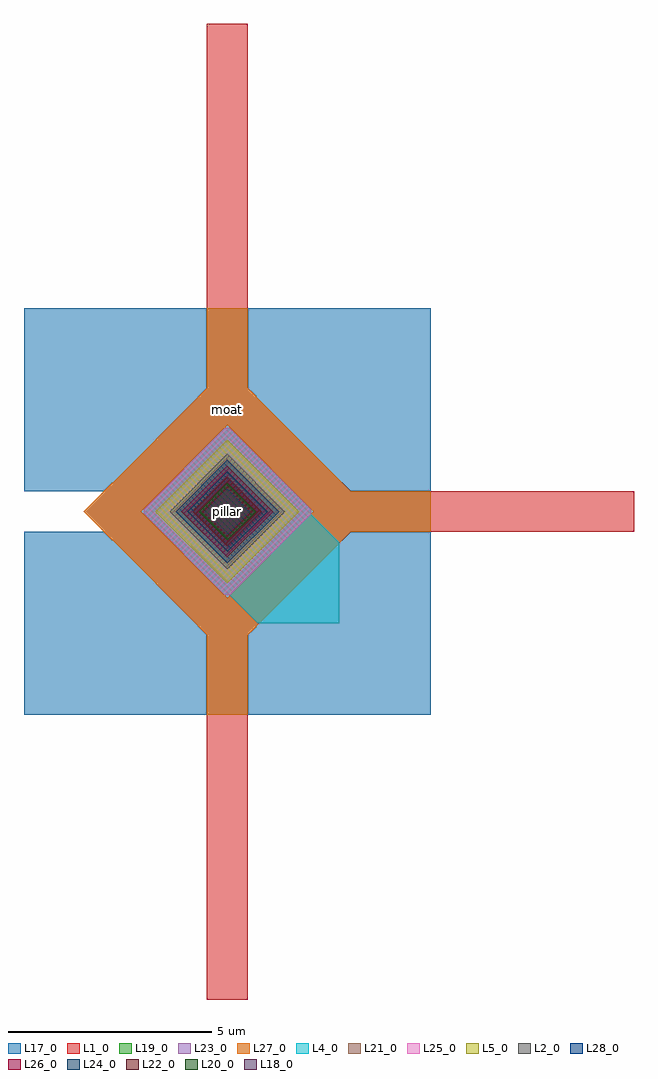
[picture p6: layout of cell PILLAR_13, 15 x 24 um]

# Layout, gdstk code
import gdstk
lib = gdstk.Library(unit=1e-6, precision=1e-09)
def P(c, l, *ps):  # polygons
    for p in ps: c.add(gdstk.Polygon(p, *l))
L1_0 = (1, 0)
L2_0 = (2, 0)
L4_0 = (4, 0)
L5_0 = (5, 0)
L17_0 = (17, 0)
L18_0 = (18, 0)
L19_0 = (19, 0)
L20_0 = (20, 0)
L21_0 = (21, 0)
L22_0 = (22, 0)
L23_0 = (23, 0)
L24_0 = (24, 0)
L25_0 = (25, 0)
L26_0 = (26, 0)
L27_0 = (27, 0)
L28_0 = (28, 0)

pillar_13 = lib.new_cell('PILLAR_13')
P(pillar_13, L2_0, [(-1.414,0),(0,-1.414),(1.414,0),(0,1.414)])
P(pillar_13, L4_0, [(0.75,-2.75),(2.75,-2.75),(2.75,-0.75),(1,1),(-1,-1)],
  [(-0.061,-2.061),(0.061,-2.061),(2.061,-0.061),(2.061,0.061),(0.061,2.061),(-0.061,2.061),(-2.061,0.061),(-2.061,-0.061)])
P(pillar_13, L5_0, [(-1.768,0),(0,-1.768),(1.768,0),(0,1.768)])
P(pillar_13, L17_0, [(5,-0.5),(3.035,-0.5),(2.828,-0.707),(2.121,0),(2.828,0.707),(3.036,0.5),(5,0.5),(5,5),(0.5,5),(0.5,3.035),(0.707,2.828),(0,2.121),(-0.707,2.828),(-0.5,3.036),(-0.5,5),(-5,5),(-5,0.5),(-3.035,0.5),(-2.828,0.707),(-2.121,0),(-2.828,-0.707),(-3.036,-0.5),(-5,-0.5),(-5,-5),(-0.5,-5),(-0.5,-3.035),(-0.707,-2.828),(0,-2.121),(0.707,-2.828),(0.5,-3.036),(0.5,-5),(5,-5)])
P(pillar_13, L18_0, [(-0.566,0),(0,-0.566),(0.566,0),(0,0.566)])
P(pillar_13, L20_0, [(-0.707,0),(0,-0.707),(0.707,0),(0,0.707)])
P(pillar_13, L21_0, [(-0.061,-2.061),(0.061,-2.061),(2.061,-0.061),(2.061,0.061),(0.061,2.061),(-0.061,2.061),(-2.061,0.061),(-2.061,-0.061)])
P(pillar_13, L22_0, [(-0.849,0),(0,-0.849),(0.849,0),(0,0.849)])
P(pillar_13, L24_0, [(-0.99,0),(0,-0.99),(0.99,0),(0,0.99)])
P(pillar_13, L25_0, [(-0.061,-2.061),(0.061,-2.061),(2.061,-0.061),(2.061,0.061),(0.061,2.061),(-0.061,2.061),(-2.061,0.061),(-2.061,-0.061)])
P(pillar_13, L26_0, [(-1.131,0),(0,-1.131),(1.131,0),(0,1.131)])
P(pillar_13, L28_0, [(-1.273,0),(0,-1.273),(1.273,0),(0,1.273)])
pillar_13.add(gdstk.FlexPath([(0,-5),(0,-2.5)], 1, ends="flush", simple_path=True, layer=19, datatype=0))  # L19_0
pillar_13.add(gdstk.FlexPath([(2.5,0),(5,0)], 1, ends="flush", simple_path=True, layer=19, datatype=0))  # L19_0
pillar_13.add(gdstk.FlexPath([(0,2.5),(0,5)], 1, ends="flush", simple_path=True, layer=19, datatype=0))  # L19_0
pillar_13.add(gdstk.FlexPath([(-0.354,-3.182),(3.182,0.354)], 1, ends="flush", simple_path=True, layer=19, datatype=0))  # L19_0
pillar_13.add(gdstk.FlexPath([(-3.182,0.354),(0.354,-3.182)], 1, ends="flush", simple_path=True, layer=19, datatype=0))  # L19_0
pillar_13.add(gdstk.FlexPath([(-3.182,-0.354),(0.354,3.182)], 1, ends="flush", simple_path=True, layer=19, datatype=0))  # L19_0
pillar_13.add(gdstk.FlexPath([(-0.354,3.182),(3.182,-0.354)], 1, ends="flush", simple_path=True, layer=19, datatype=0))  # L19_0
pillar_13.add(gdstk.FlexPath([(0,-5),(0,-2.5)], 1, ends="flush", simple_path=True, layer=23, datatype=0))  # L23_0
pillar_13.add(gdstk.FlexPath([(2.5,0),(5,0)], 1, ends="flush", simple_path=True, layer=23, datatype=0))  # L23_0
pillar_13.add(gdstk.FlexPath([(0,2.5),(0,5)], 1, ends="flush", simple_path=True, layer=23, datatype=0))  # L23_0
pillar_13.add(gdstk.FlexPath([(-0.354,-3.182),(3.182,0.354)], 1, ends="flush", simple_path=True, layer=23, datatype=0))  # L23_0
pillar_13.add(gdstk.FlexPath([(-3.182,0.354),(0.354,-3.182)], 1, ends="flush", simple_path=True, layer=23, datatype=0))  # L23_0
pillar_13.add(gdstk.FlexPath([(-3.182,-0.354),(0.354,3.182)], 1, ends="flush", simple_path=True, layer=23, datatype=0))  # L23_0
pillar_13.add(gdstk.FlexPath([(-0.354,3.182),(3.182,-0.354)], 1, ends="flush", simple_path=True, layer=23, datatype=0))  # L23_0
pillar_13.add(gdstk.FlexPath([(0,-5),(0,-2.5)], 1, ends="flush", simple_path=True, layer=27, datatype=0))  # L27_0
pillar_13.add(gdstk.FlexPath([(2.5,0),(5,0)], 1, ends="flush", simple_path=True, layer=27, datatype=0))  # L27_0
pillar_13.add(gdstk.FlexPath([(0,2.5),(0,5)], 1, ends="flush", simple_path=True, layer=27, datatype=0))  # L27_0
pillar_13.add(gdstk.FlexPath([(-0.354,-3.182),(3.182,0.354)], 1, ends="flush", simple_path=True, layer=27, datatype=0))  # L27_0
pillar_13.add(gdstk.FlexPath([(-3.182,0.354),(0.354,-3.182)], 1, ends="flush", simple_path=True, layer=27, datatype=0))  # L27_0
pillar_13.add(gdstk.FlexPath([(-3.182,-0.354),(0.354,3.182)], 1, ends="flush", simple_path=True, layer=27, datatype=0))  # L27_0
pillar_13.add(gdstk.FlexPath([(-0.354,3.182),(3.182,-0.354)], 1, ends="flush", simple_path=True, layer=27, datatype=0))  # L27_0
pillar_13.add(gdstk.FlexPath([(0,-12),(0,-2.5)], 1, ends="flush", simple_path=True, layer=1, datatype=0))  # L1_0
pillar_13.add(gdstk.FlexPath([(2.5,0),(10,0)], 1, ends="flush", simple_path=True, layer=1, datatype=0))  # L1_0
pillar_13.add(gdstk.FlexPath([(0,2.5),(0,12)], 1, ends="flush", simple_path=True, layer=1, datatype=0))  # L1_0
pillar_13.add(gdstk.FlexPath([(0,-5),(0,-2.5)], 1, ends="flush", simple_path=True, layer=1, datatype=0))  # L1_0
pillar_13.add(gdstk.FlexPath([(2.5,0),(5,0)], 1, ends="flush", simple_path=True, layer=1, datatype=0))  # L1_0
pillar_13.add(gdstk.FlexPath([(0,2.5),(0,5)], 1, ends="flush", simple_path=True, layer=1, datatype=0))  # L1_0
pillar_13.add(gdstk.FlexPath([(-0.354,-3.182),(3.182,0.354)], 1, ends="flush", simple_path=True, layer=1, datatype=0))  # L1_0
pillar_13.add(gdstk.FlexPath([(-3.182,0.354),(0.354,-3.182)], 1, ends="flush", simple_path=True, layer=1, datatype=0))  # L1_0
pillar_13.add(gdstk.FlexPath([(-3.182,-0.354),(0.354,3.182)], 1, ends="flush", simple_path=True, layer=1, datatype=0))  # L1_0
pillar_13.add(gdstk.FlexPath([(-0.354,3.182),(3.182,-0.354)], 1, ends="flush", simple_path=True, layer=1, datatype=0))  # L1_0
pillar_13.add(gdstk.Label('moat', (0,2.5), layer=15, texttype=0))
pillar_13.add(gdstk.Label('pillar', (0,0), layer=15, texttype=0))

lib.write_gds('PILLAR_13.gds')
